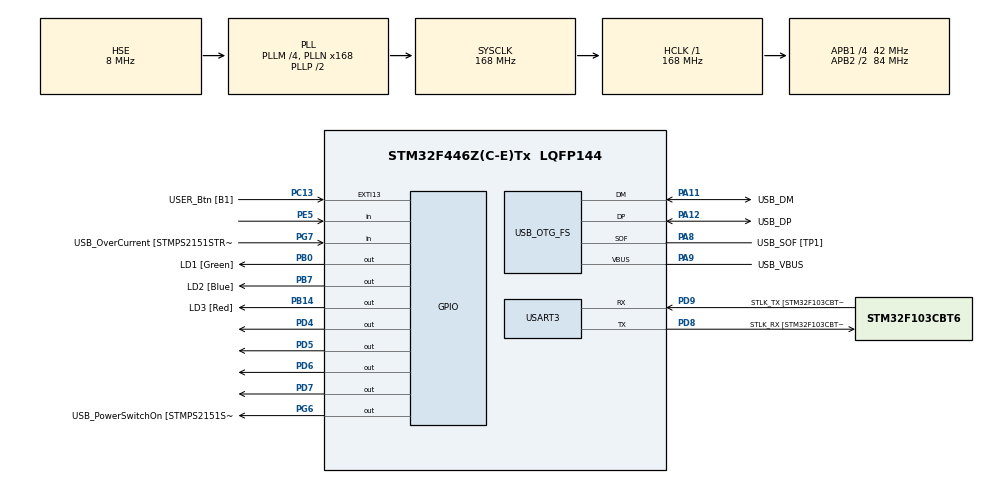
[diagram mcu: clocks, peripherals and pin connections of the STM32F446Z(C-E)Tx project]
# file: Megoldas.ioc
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Mcu.Family=STM32F4
Mcu.Name=STM32F446Z(C-E)Tx
Mcu.Package=LQFP144
NVIC.PriorityGroup=NVIC_PRIORITYGROUP_4
PA10.GPIO_Label=USB_ID
PA10.Signal=USB_OTG_FS_ID
PA11.GPIO_Label=USB_DM
PA11.Mode=Device_Only
PA11.Signal=USB_OTG_FS_DM
PA12.GPIO_Label=USB_DP
PA12.Mode=Device_Only
PA12.Signal=USB_OTG_FS_DP
PA13.GPIO_Label=TMS
PA13.Mode=Serial_Wire
PA13.Signal=SYS_JTMS-SWDIO
PA14.GPIO_Label=TCK
PA14.Mode=Serial_Wire
PA14.Signal=SYS_JTCK-SWCLK
PA8.GPIO_Label=USB_SOF [TP1]
PA8.Mode=Activate_SOF_FS
PA8.Signal=USB_OTG_FS_SOF
PA9.GPIO_Label=USB_VBUS
PA9.Mode=Activate_VBUS
PA9.Signal=USB_OTG_FS_VBUS
PB0.GPIO_Label=LD1 [Green]
PB0.Signal=GPIO_Output
PB14.GPIO_Label=LD3 [Red]
PB14.Signal=GPIO_Output
PB7.GPIO_Label=LD2 [Blue]
PB7.Signal=GPIO_Output
PC13.GPIO_Label=USER_Btn [B1]
PC13.Signal=GPXTI13
PC14-OSC32_IN.Mode=LSE-External-Oscillator
PC14-OSC32_IN.Signal=RCC_OSC32_IN
PC15-OSC32_OUT.Mode=LSE-External-Oscillator
PC15-OSC32_OUT.Signal=RCC_OSC32_OUT
PD4.Signal=GPIO_Output
PD5.Signal=GPIO_Output
PD6.Signal=GPIO_Output
PD7.Signal=GPIO_Output
PD8.GPIO_Label=STLK_RX [STM32F103CBT6_PA3]
PD8.Mode=Asynchronous
PD8.Signal=USART3_TX
PD9.GPIO_Label=STLK_TX [STM32F103CBT6_PA2]
PD9.Mode=Asynchronous
PD9.Signal=USART3_RX
PE5.GPIO_PuPd=GPIO_PULLDOWN
PE5.Signal=GPIO_Input
PG6.GPIO_Label=USB_PowerSwitchOn [STMPS2151STR_EN]
PG6.Signal=GPIO_Output
PG7.GPIO_Label=USB_OverCurrent [STMPS2151STR_FAULT]
PG7.Signal=GPIO_Input
PH0-OSC_IN.GPIO_Label=MCO [STM32F103CBT6_PA8]
PH0-OSC_IN.Mode=HSE-External-Clock-Source
PH0-OSC_IN.Signal=RCC_OSC_IN
PH1-OSC_OUT.Mode=HSE-External-Clock-Source
PH1-OSC_OUT.Signal=RCC_OSC_OUT
ProjectManager.HeapSize=0x200
ProjectManager.StackSize=0x400
ProjectManager.TargetToolchain=STM32CubeIDE
RCC.48MHZClocksFreq_Value=24000000
RCC.AHBFreq_Value=168000000
RCC.APB1CLKDivider=RCC_HCLK_DIV4
RCC.APB1Freq_Value=42000000
RCC.APB1TimFreq_Value=84000000
RCC.APB2CLKDivider=RCC_HCLK_DIV2
RCC.APB2Freq_Value=84000000
RCC.APB2TimFreq_Value=168000000
RCC.CortexFreq_Value=168000000
RCC.HCLKFreq_Value=168000000
RCC.HSE_VALUE=8000000
RCC.HSI_VALUE=16000000
RCC.PLLM=4
RCC.PLLMUL=RCC_PLL_MUL9
RCC.PLLN=168
RCC.PLLQ=7
RCC.PRESCALERUSB=RCC_USBCLKSOURCE_PLL_DIV1_5
RCC.SYSCLKFreq_VALUE=168000000
RCC.SYSCLKSource=RCC_SYSCLKSOURCE_PLLCLK
RCC.SYSCLKSourceVirtual=RCC_SYSCLKSOURCE_PLLCLK
RCC.USBFreq_Value=48000000
RCC.VCOOutputFreq_Value=336000000
USART3.VirtualMode=VM_ASYNC
USB_OTG_FS.VirtualMode=Device_Only
board=NUCLEO-F446ZE

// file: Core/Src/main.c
/* USER CODE BEGIN Header */
/**
  ******************************************************************************
  * @file           : main.c
  * @brief          : Main program body
  ******************************************************************************
  * @attention
  *
  * Copyright (c) 2026 STMicroelectronics.
  * All rights reserved.
  *
  * This software is licensed under terms that can be found in the LICENSE file
  * in the root directory of this software component.
  * If no LICENSE file comes with this software, it is provided AS-IS.
  *
  ******************************************************************************
  */
/* USER CODE END Header */
#include "main.h"

UART_HandleTypeDef huart3;

PCD_HandleTypeDef hpcd_USB_OTG_FS;

void SystemClock_Config(void);
static void MX_GPIO_Init(void);
static void MX_USART3_UART_Init(void);
static void MX_USB_OTG_FS_PCD_Init(void);

int main(void)
{

  /* MCU Configuration--------------------------------------------------------*/

  /* Reset of all peripherals, Initializes the Flash interface and the Systick. */
  HAL_Init();

  /* Configure the system clock */
  SystemClock_Config();

  /* Initialize all configured peripherals */
  MX_GPIO_Init();
  MX_USART3_UART_Init();
  MX_USB_OTG_FS_PCD_Init();

  /* Infinite loop */
  /* USER CODE BEGIN WHILE */

  uint8_t counter = 0;
  uint8_t button_pressed = 0;
  while (1)
  {
      /* USER CODE END WHILE */

      /* USER CODE BEGIN 3 */

        if (HAL_GPIO_ReadPin(GPIOE, GPIO_PIN_5) == GPIO_PIN_SET)
        {
            if (button_pressed == 0)
            {
                HAL_Delay(20);
                if (HAL_GPIO_ReadPin(GPIOE, GPIO_PIN_5) == GPIO_PIN_SET)
                {
                    counter++;
                    if (counter > 15) {
                        counter = 0;
                    }

                    HAL_GPIO_WritePin(GPIOD, GPIO_PIN_4 | GPIO_PIN_5 | GPIO_PIN_6 | GPIO_PIN_7, GPIO_PIN_RESET);

                    uint32_t led_mask = (counter & 0x0F) << 4;
                    HAL_GPIO_WritePin(GPIOD, led_mask, GPIO_PIN_SET);

                    button_pressed = 1;
                }
            }
        }
        else
        {
            button_pressed = 0;
        }

    }
  /* USER CODE END 3 */
}

void SystemClock_Config(void)
{
  RCC_OscInitTypeDef RCC_OscInitStruct = {0};
  RCC_ClkInitTypeDef RCC_ClkInitStruct = {0};

  /** Configure the main internal regulator output voltage
  */
  __HAL_RCC_PWR_CLK_ENABLE();
  __HAL_PWR_VOLTAGESCALING_CONFIG(PWR_REGULATOR_VOLTAGE_SCALE1);

  /** Initializes the RCC Oscillators according to the specified parameters
  * in the RCC_OscInitTypeDef structure.
  */
  RCC_OscInitStruct.OscillatorType = RCC_OSCILLATORTYPE_HSE;
  RCC_OscInitStruct.HSEState = RCC_HSE_BYPASS;
  RCC_OscInitStruct.PLL.PLLState = RCC_PLL_ON;
  RCC_OscInitStruct.PLL.PLLSource = RCC_PLLSOURCE_HSE;
  RCC_OscInitStruct.PLL.PLLM = 4;
  RCC_OscInitStruct.PLL.PLLN = 168;
  RCC_OscInitStruct.PLL.PLLP = RCC_PLLP_DIV2;
  RCC_OscInitStruct.PLL.PLLQ = 7;
  RCC_OscInitStruct.PLL.PLLR = 2;
  if (HAL_RCC_OscConfig(&RCC_OscInitStruct) != HAL_OK)
  {
    Error_Handler();
  }

  /** Initializes the CPU, AHB and APB buses clocks
  */
  RCC_ClkInitStruct.ClockType = RCC_CLOCKTYPE_HCLK|RCC_CLOCKTYPE_SYSCLK
                              |RCC_CLOCKTYPE_PCLK1|RCC_CLOCKTYPE_PCLK2;
  RCC_ClkInitStruct.SYSCLKSource = RCC_SYSCLKSOURCE_PLLCLK;
  RCC_ClkInitStruct.AHBCLKDivider = RCC_SYSCLK_DIV1;
  RCC_ClkInitStruct.APB1CLKDivider = RCC_HCLK_DIV4;
  RCC_ClkInitStruct.APB2CLKDivider = RCC_HCLK_DIV2;

  if (HAL_RCC_ClockConfig(&RCC_ClkInitStruct, FLASH_LATENCY_5) != HAL_OK)
  {
    Error_Handler();
  }
}

static void MX_USART3_UART_Init(void)
{

  huart3.Instance = USART3;
  huart3.Init.BaudRate = 115200;
  huart3.Init.WordLength = UART_WORDLENGTH_8B;
  huart3.Init.StopBits = UART_STOPBITS_1;
  huart3.Init.Parity = UART_PARITY_NONE;
  huart3.Init.Mode = UART_MODE_TX_RX;
  huart3.Init.HwFlowCtl = UART_HWCONTROL_NONE;
  huart3.Init.OverSampling = UART_OVERSAMPLING_16;
  if (HAL_UART_Init(&huart3) != HAL_OK)
  {
    Error_Handler();
  }

}

static void MX_USB_OTG_FS_PCD_Init(void)
{

  hpcd_USB_OTG_FS.Instance = USB_OTG_FS;
  hpcd_USB_OTG_FS.Init.dev_endpoints = 6;
  hpcd_USB_OTG_FS.Init.speed = PCD_SPEED_FULL;
  hpcd_USB_OTG_FS.Init.dma_enable = DISABLE;
  hpcd_USB_OTG_FS.Init.phy_itface = PCD_PHY_EMBEDDED;
  hpcd_USB_OTG_FS.Init.Sof_enable = ENABLE;
  hpcd_USB_OTG_FS.Init.low_power_enable = DISABLE;
  hpcd_USB_OTG_FS.Init.lpm_enable = DISABLE;
  hpcd_USB_OTG_FS.Init.vbus_sensing_enable = ENABLE;
  hpcd_USB_OTG_FS.Init.use_dedicated_ep1 = DISABLE;
  if (HAL_PCD_Init(&hpcd_USB_OTG_FS) != HAL_OK)
  {
    Error_Handler();
  }

}

static void MX_GPIO_Init(void)
{
  GPIO_InitTypeDef GPIO_InitStruct = {0};

  /* GPIO Ports Clock Enable */
  __HAL_RCC_GPIOE_CLK_ENABLE();
  __HAL_RCC_GPIOC_CLK_ENABLE();
  __HAL_RCC_GPIOH_CLK_ENABLE();
  __HAL_RCC_GPIOB_CLK_ENABLE();
  __HAL_RCC_GPIOD_CLK_ENABLE();
  __HAL_RCC_GPIOG_CLK_ENABLE();
  __HAL_RCC_GPIOA_CLK_ENABLE();

  /*Configure GPIO pin Output Level */
  HAL_GPIO_WritePin(GPIOB, LD1_Pin|LD3_Pin|LD2_Pin, GPIO_PIN_RESET);

  /*Configure GPIO pin Output Level */
  HAL_GPIO_WritePin(USB_PowerSwitchOn_GPIO_Port, USB_PowerSwitchOn_Pin, GPIO_PIN_RESET);

  /*Configure GPIO pin Output Level */
  HAL_GPIO_WritePin(GPIOD, GPIO_PIN_4|GPIO_PIN_5|GPIO_PIN_6|GPIO_PIN_7, GPIO_PIN_RESET);

  /*Configure GPIO pin : PE5 */
  GPIO_InitStruct.Pin = GPIO_PIN_5;
  GPIO_InitStruct.Mode = GPIO_MODE_INPUT;
  GPIO_InitStruct.Pull = GPIO_PULLDOWN;
  HAL_GPIO_Init(GPIOE, &GPIO_InitStruct);

  /*Configure GPIO pin : USER_Btn_Pin */
  GPIO_InitStruct.Pin = USER_Btn_Pin;
  GPIO_InitStruct.Mode = GPIO_MODE_IT_RISING;
  GPIO_InitStruct.Pull = GPIO_NOPULL;
  HAL_GPIO_Init(USER_Btn_GPIO_Port, &GPIO_InitStruct);

  /*Configure GPIO pins : LD1_Pin LD3_Pin LD2_Pin */
  GPIO_InitStruct.Pin = LD1_Pin|LD3_Pin|LD2_Pin;
  GPIO_InitStruct.Mode = GPIO_MODE_OUTPUT_PP;
  GPIO_InitStruct.Pull = GPIO_NOPULL;
  GPIO_InitStruct.Speed = GPIO_SPEED_FREQ_LOW;
  HAL_GPIO_Init(GPIOB, &GPIO_InitStruct);

  /*Configure GPIO pin : USB_PowerSwitchOn_Pin */
  GPIO_InitStruct.Pin = USB_PowerSwitchOn_Pin;
  GPIO_InitStruct.Mode = GPIO_MODE_OUTPUT_PP;
  GPIO_InitStruct.Pull = GPIO_NOPULL;
  GPIO_InitStruct.Speed = GPIO_SPEED_FREQ_LOW;
  HAL_GPIO_Init(USB_PowerSwitchOn_GPIO_Port, &GPIO_InitStruct);

  /*Configure GPIO pin : USB_OverCurrent_Pin */
  GPIO_InitStruct.Pin = USB_OverCurrent_Pin;
  GPIO_InitStruct.Mode = GPIO_MODE_INPUT;
  GPIO_InitStruct.Pull = GPIO_NOPULL;
  HAL_GPIO_Init(USB_OverCurrent_GPIO_Port, &GPIO_InitStruct);

  /*Configure GPIO pins : PD4 PD5 PD6 PD7 */
  GPIO_InitStruct.Pin = GPIO_PIN_4|GPIO_PIN_5|GPIO_PIN_6|GPIO_PIN_7;
  GPIO_InitStruct.Mode = GPIO_MODE_OUTPUT_PP;
  GPIO_InitStruct.Pull = GPIO_NOPULL;
  GPIO_InitStruct.Speed = GPIO_SPEED_FREQ_LOW;
  HAL_GPIO_Init(GPIOD, &GPIO_InitStruct);

}

void Error_Handler(void)
{
  __disable_irq();
  while (1)
  {
  }
}
